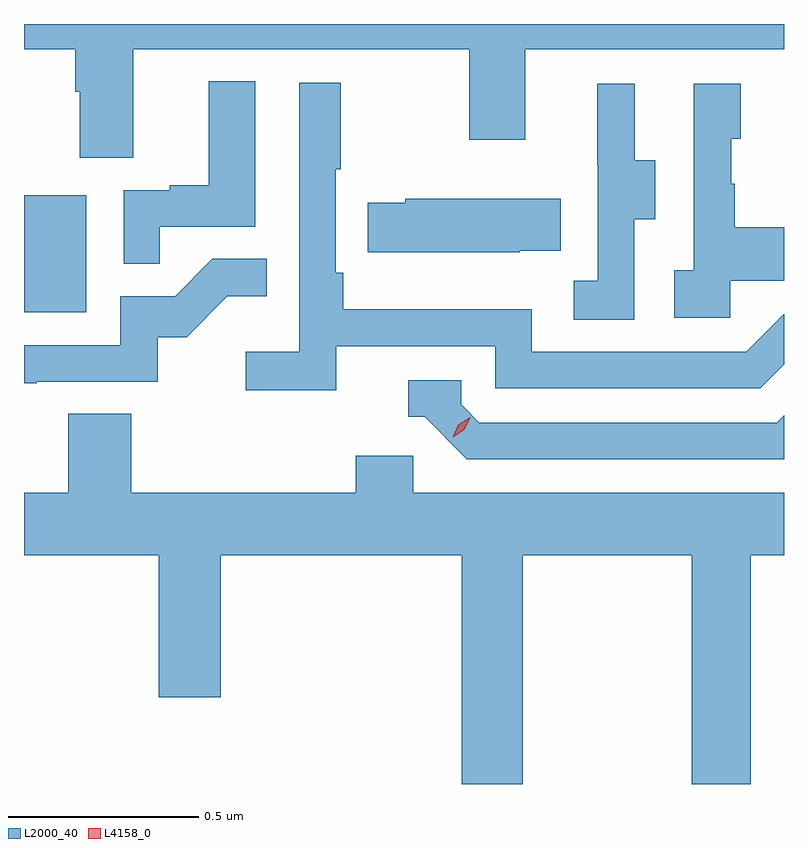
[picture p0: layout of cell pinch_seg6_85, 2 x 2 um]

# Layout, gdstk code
import gdstk
lib = gdstk.Library(unit=1e-6, precision=1e-09)
def R(c, l, rs):  # rectangles x0, y0, x1, y1
    for r in rs: c.add(gdstk.rectangle(r[:2], r[2:], *l))
def P(c, l, *ps):  # polygons
    for p in ps: c.add(gdstk.Polygon(p, *l))
L2000_40 = (2000, 40)
L4158_0 = (4158, 0)

pinch_seg6_85 = lib.new_cell('pinch_seg6_85')
R(pinch_seg6_85, L2000_40, [(919.898,933.324,920.062,933.631)])
P(pinch_seg6_85, L2000_40, [(920.185,934.016),(921.07,934.016),(921.07,933.777),(921.217,933.777),(921.217,934.016),(921.898,934.016),(921.898,934.082),(919.898,934.082),(919.898,934.016),(920.033,934.016),(920.033,933.904),(920.045,933.904),(920.045,933.73),(920.185,933.73)],
  [(920.255,933.549),(920.506,933.549),(920.506,933.931),(920.384,933.931),(920.384,933.658),(920.281,933.658),(920.281,933.645),(920.16,933.645),(920.16,933.451),(920.255,933.451)],
  [(920.72,933.234),(921.138,933.234),(921.138,933.123),(921.835,933.123),(921.898,933.186),(921.898,933.318),(921.897,933.318),(921.798,933.219),(921.234,933.219),(921.234,933.331),(920.738,933.331),(920.738,933.427),(920.718,933.427),(920.718,933.7),(920.731,933.7),(920.731,933.928),(920.622,933.928),(920.622,933.22),(920.481,933.22),(920.481,933.118),(920.72,933.118)],
  [(921.756,933.407),(921.898,933.407),(921.898,933.547),(921.769,933.547),(921.769,933.662),(921.759,933.662),(921.759,933.78),(921.784,933.78),(921.784,933.925),(921.66,933.925),(921.66,933.434),(921.609,933.434),(921.609,933.309),(921.756,933.309)],
  [(921.504,933.568),(921.559,933.568),(921.559,933.723),(921.505,933.723),(921.505,933.925),(921.407,933.925),(921.407,933.711),(921.408,933.711),(921.408,933.407),(921.345,933.407),(921.345,933.304),(921.504,933.304)],
  [(921.203,933.485),(921.311,933.485),(921.311,933.622),(920.901,933.622),(920.901,933.612),(920.803,933.612),(920.803,933.482),(921.203,933.482)],
  [(919.931,933.141),(920.25,933.141),(920.25,933.258),(920.326,933.258),(920.433,933.365),(920.537,933.365),(920.537,933.464),(920.394,933.464),(920.296,933.366),(920.151,933.366),(920.151,933.237),(919.898,933.237),(919.898,933.136),(919.931,933.136)],
  [(921.898,933.052),(921.879,933.033),(921.096,933.033),(921.048,933.081),(921.048,933.144),(920.909,933.144),(920.909,933.048),(920.952,933.048),(921.063,932.937),(921.898,932.937)],
  [(921.21,932.684),(921.655,932.684),(921.655,932.082),(921.81,932.082),(921.81,932.684),(921.898,932.684),(921.898,932.848),(920.922,932.848),(920.922,932.946),(920.771,932.946),(920.771,932.848),(920.18,932.848),(920.18,933.056),(920.015,933.056),(920.015,932.848),(919.898,932.848),(919.898,932.684),(920.252,932.684),(920.252,932.31),(920.416,932.31),(920.416,932.684),(921.05,932.684),(921.05,932.082),(921.21,932.082)])
P(pinch_seg6_85, L4158_0, [(921.026,932.994),(921.026,932.994),(921.041,933.027),(921.072,933.047),(921.072,933.047),(921.072,933.047),(921.056,933.014),(921.026,932.994)])

lib.write_gds('pinch_seg6_85.gds')
